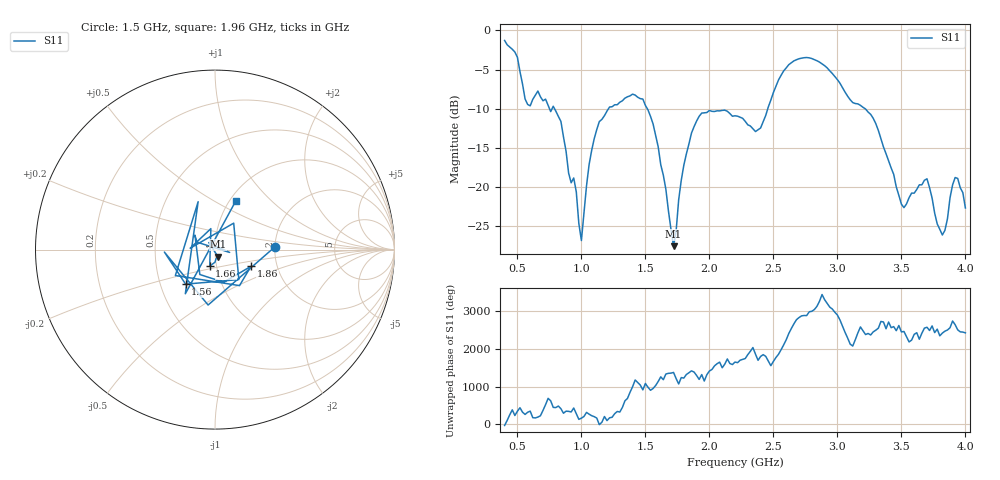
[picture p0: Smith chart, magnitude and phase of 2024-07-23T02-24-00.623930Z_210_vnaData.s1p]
!Created with skrf (http://scikit-rf.org).
# Hz S RI R 50.0
!freq ReS11 ImS11
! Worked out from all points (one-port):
!   181 points, 400 MHz to 4 GHz, reference 50 ohm
!   lowest |S11| = -27.6 dB at 1.72 GHz (marker M1), VSWR 1.09, Z = 51.5 - j3.98 ohm
!   |S11| at or under -10 dB: 790.2 MHz to 1.212 GHz (421.4 MHz wide, 42.1 % of centre); 1.515 GHz to 2.456 GHz (941 MHz wide, 47.4 % of centre); 3.217 GHz to end of sweep (the widest 3 of 4)
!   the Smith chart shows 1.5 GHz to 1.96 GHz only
!   S11 on the Smith chart (normalised r, x): 1.5 GHz: 1.99, +0.06; 1.56 GHz: 0.67, -0.28; 1.66 GHz: 0.93, -0.17; 1.86 GHz: 1.47, -0.29; 1.96 GHz: 1.07, +0.64
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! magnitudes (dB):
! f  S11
! 400 MHz  -1.3
! 500 MHz  -3.4
! 580 MHz  -9.5
! 660 MHz  -7.7
! 860 MHz  -13.6
! 960 MHz  -20.6
! 1 GHz  -26.8
! 1.1 GHz  -13.8
! 1.3 GHz  -9.2
! 1.5 GHz  -9.6
! 1.56 GHz  -12.0
! 1.66 GHz  -20.3
! 1.72 GHz  -27.6
! 1.76 GHz  -21.6
! 1.86 GHz  -13.1
! 1.96 GHz  -10.5
! 2.2 GHz  -10.9
! 2.4 GHz  -12.5
! 2.66 GHz  -3.9
! 2.88 GHz  -4.3
! 3.1 GHz  -8.9
! 3.28 GHz  -11.2
! 3.5 GHz  -22.2
! 3.56 GHz  -21.4
! 3.7 GHz  -19.0
! 3.82 GHz  -26.1
! 3.92 GHz  -18.8
! 4 GHz  -22.7
